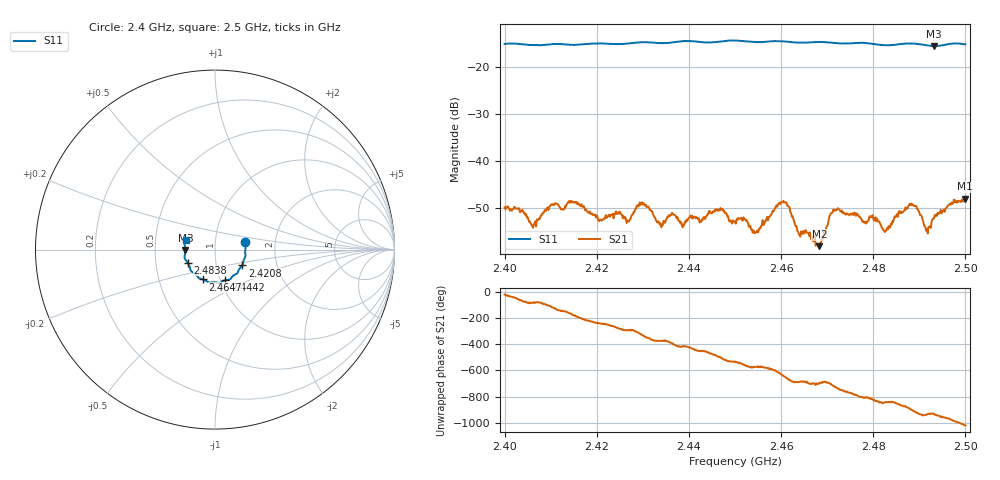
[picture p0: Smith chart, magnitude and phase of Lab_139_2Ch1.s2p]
# Hz S RI R 50
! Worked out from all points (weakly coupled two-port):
!   601 points, 2.4 GHz to 2.5 GHz, reference 50 ohm
!   highest |S21| = -48.01 dB at 2.4998 GHz (marker M1); lowest = -58.1 dB at 2.4683 GHz (marker M2)
!   lowest |S11| = -15.6 dB at 2.4932 GHz (marker M3), VSWR 1.40, Z = 35.8 - j0.121 ohm
!   |S11| at or under -10 dB: start of sweep to end of sweep
!   S12 and S22 are empty: the file has one direction only
!   S11 on the Smith chart (normalised r, x): 2.4 GHz: 1.40, +0.12; 2.4208 GHz: 1.33, -0.24; 2.4442 GHz: 1.05, -0.37; 2.4647 GHz: 0.83, -0.28; 2.4838 GHz: 0.73, -0.11; 2.5 GHz: 0.71, +0.08
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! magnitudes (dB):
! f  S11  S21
! 2.4 GHz  -15.2  -49.8
! 2.4063 GHz  -15.4  -53.5
! 2.4103 GHz  -15.2  -49.1
! 2.4167 GHz  -15.3  -49.2
! 2.4208 GHz  -15.1  -52.4
! 2.4298 GHz  -14.8  -48.8
! 2.4333 GHz  -15.0  -52.8
! 2.4442 GHz  -14.9  -51.3
! 2.45 GHz  -14.5  -52.8
! 2.4547 GHz  -14.8  -55.0
! 2.4607 GHz  -14.7  -48.8
! 2.4647 GHz  -14.9  -55.5
! 2.4667 GHz  -14.8  -56.8
! 2.4683 GHz  -14.8  -58.1
! 2.4718 GHz  -15.0  -50.5
! 2.4833 GHz  -15.5  -53.8
! 2.4838 GHz  -15.5  -53.3
! 2.4882 GHz  -15.1  -49.3
! 2.4915 GHz  -15.5  -54.8
! 2.4932 GHz  -15.6  -52.2
! 2.4998 GHz  -15.3  -48.0
! 2.5 GHz  -15.3  -48.5
